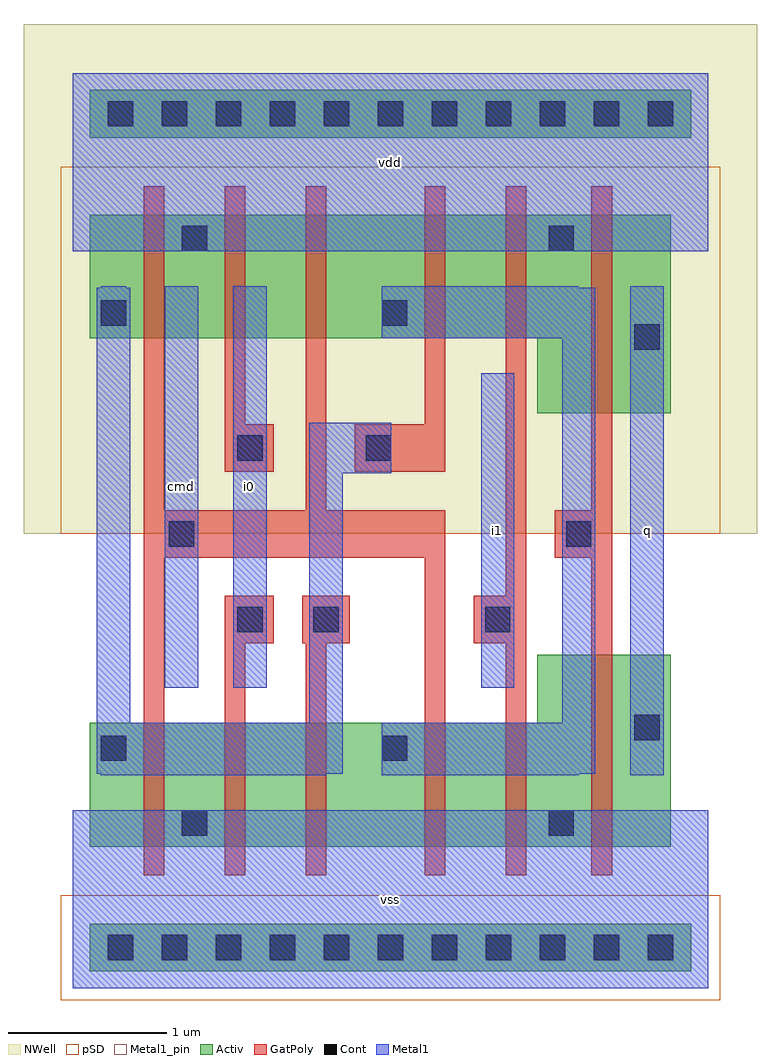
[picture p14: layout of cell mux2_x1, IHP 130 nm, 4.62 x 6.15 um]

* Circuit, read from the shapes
.subckt mux2_x1 cmd i0 i1 q vdd vss
XM1 vss cmd n1 vss sg13_lv_nmos w=0.78u l=0.13u
XM2 n2 i0 vss vss sg13_lv_nmos w=0.78u l=0.13u
XM3 n3 n1 n2 vss sg13_lv_nmos w=0.78u l=0.13u
XM4 n4 cmd n3 vss sg13_lv_nmos w=0.78u l=0.13u
XM5 vss i1 n4 vss sg13_lv_nmos w=0.78u l=0.13u
XM6 q n3 vss vss sg13_lv_nmos w=1.21u l=0.13u
XM7 vdd cmd n1 vdd sg13_lv_pmos w=0.78u l=0.13u
XM8 n5 i0 vdd vdd sg13_lv_pmos w=0.78u l=0.13u
XM9 n3 cmd n5 vdd sg13_lv_pmos w=0.78u l=0.13u
XM10 n6 n1 n3 vdd sg13_lv_pmos w=0.78u l=0.13u
XM11 vdd i1 n6 vdd sg13_lv_pmos w=0.78u l=0.13u
XM12 q n3 vdd vdd sg13_lv_pmos w=1.25u l=0.13u
.ends

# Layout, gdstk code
import gdstk
lib = gdstk.Library(unit=1e-6, precision=1e-09)
def R(c, l, rs):  # rectangles x0, y0, x1, y1
    for r in rs: c.add(gdstk.rectangle(r[:2], r[2:], *l))
def P(c, l, *ps):  # polygons
    for p in ps: c.add(gdstk.Polygon(p, *l))
Activ = (1, 0)
GatPoly = (5, 0)
Cont = (6, 0)
Metal1 = (8, 0)
Metal1_pin = (8, 2)
pSD = (14, 0)
NWell = (31, 0)

mux2_x1 = lib.new_cell('mux2_x1')
P(mux2_x1, Activ, [(1.595,0.89),(1.595,1.67),(1.825,1.67),(1.825,0.89),(1.595,0.89)],
  [(1.665,0.89),(1.665,1.67),(2.145,1.67),(2.145,0.89),(1.665,0.89)],
  [(1.875,4.1),(1.875,4.4),(2.175,4.4),(2.175,4.1),(1.875,4.1)],
  [(1.665,4.09),(1.665,4.87),(2.145,4.87),(2.145,4.09),(1.665,4.09)],
  [(1.985,0.89),(1.985,1.67),(2.215,1.67),(2.215,0.89),(1.985,0.89)],
  [(1.875,0.89),(1.875,1.67),(2.175,1.67),(2.175,0.89),(1.875,0.89)],
  [(1.875,4.09),(1.875,4.87),(2.175,4.87),(2.175,4.09),(1.875,4.09)],
  [(1.985,4.09),(1.985,4.87),(2.215,4.87),(2.215,4.09),(1.985,4.09)],
  [(1.875,1.36),(1.875,1.66),(2.175,1.66),(2.175,1.36),(1.875,1.36)],
  [(1.595,4.09),(1.595,4.87),(1.825,4.87),(1.825,4.09),(1.595,4.09)],
  [(0.725,0.89),(0.725,1.67),(0.955,1.67),(0.955,0.89),(0.725,0.89)],
  [(3.265,0.89),(3.265,2.1),(3.395,2.1),(3.395,0.89),(3.265,0.89)],
  [(2.855,0.89),(2.855,1.67),(3.085,1.67),(3.085,0.89),(2.855,0.89)],
  [(2.725,0.89),(2.725,1.67),(2.855,1.67),(2.855,0.89),(2.725,0.89)],
  [(0.955,0.89),(0.955,1.67),(1.085,1.67),(1.085,0.89),(0.955,0.89)],
  [(0.615,0.89),(0.615,1.19),(0.915,1.19),(0.915,0.89),(0.615,0.89)],
  [(0.445,0.89),(0.445,1.67),(0.575,1.67),(0.575,0.89),(0.445,0.89)],
  [(0.15,0.105),(0.15,0.405),(3.85,0.405),(3.85,0.105),(0.15,0.105)],
  [(2.925,0.89),(2.925,2.1),(3.225,2.1),(3.225,0.89),(2.925,0.89)],
  [(0.615,0.89),(0.615,1.67),(0.915,1.67),(0.915,0.89),(0.615,0.89)],
  [(0.575,0.89),(0.575,1.67),(0.805,1.67),(0.805,0.89),(0.575,0.89)],
  [(3.035,0.89),(3.035,2.1),(3.265,2.1),(3.265,0.89),(3.035,0.89)],
  [(1.465,0.89),(1.465,1.67),(1.595,1.67),(1.595,0.89),(1.465,0.89)],
  [(2.925,0.89),(2.925,1.19),(3.225,1.19),(3.225,0.89),(2.925,0.89)],
  [(0.645,0.89),(0.645,1.67),(0.885,1.67),(0.885,0.89),(0.645,0.89)],
  [(2.925,0.89),(2.925,2.1),(3.195,2.1),(3.195,0.89),(2.925,0.89)],
  [(2.215,0.89),(2.215,1.67),(2.345,1.67),(2.345,0.89),(2.215,0.89)],
  [(0.105,0.105),(0.105,0.405),(3.895,0.405),(3.895,0.105),(0.105,0.105)],
  [(0.615,4.57),(0.615,4.87),(0.915,4.87),(0.915,4.57),(0.615,4.57)],
  [(2.725,4.09),(2.725,4.87),(2.855,4.87),(2.855,4.09),(2.725,4.09)],
  [(2.855,4.09),(2.855,4.87),(3.085,4.87),(3.085,4.09),(2.855,4.09)],
  [(0.575,4.09),(0.575,4.87),(0.805,4.87),(0.805,4.09),(0.575,4.09)],
  [(2.215,4.09),(2.215,4.87),(2.345,4.87),(2.345,4.09),(2.215,4.09)],
  [(3.035,3.62),(3.035,4.87),(3.265,4.87),(3.265,3.62),(3.035,3.62)],
  [(0.615,4.09),(0.615,4.87),(0.915,4.87),(0.915,4.09),(0.615,4.09)],
  [(3.265,3.62),(3.265,4.87),(3.395,4.87),(3.395,3.62),(3.265,3.62)],
  [(0.955,4.09),(0.955,4.87),(1.085,4.87),(1.085,4.09),(0.955,4.09)],
  [(0.725,4.09),(0.725,4.87),(0.955,4.87),(0.955,4.09),(0.725,4.09)],
  [(2.925,3.62),(2.925,4.87),(3.195,4.87),(3.195,3.62),(2.925,3.62)],
  [(0.105,5.355),(0.105,5.655),(3.895,5.655),(3.895,5.355),(0.105,5.355)],
  [(0.645,4.09),(0.645,4.87),(0.885,4.87),(0.885,4.09),(0.645,4.09)],
  [(0.445,4.09),(0.445,4.87),(0.575,4.87),(0.575,4.09),(0.445,4.09)],
  [(2.925,4.57),(2.925,4.87),(3.225,4.87),(3.225,4.57),(2.925,4.57)],
  [(0.15,5.355),(0.15,5.655),(3.85,5.655),(3.85,5.355),(0.15,5.355)],
  [(2.925,3.62),(2.925,4.87),(3.225,4.87),(3.225,3.62),(2.925,3.62)],
  [(1.465,4.09),(1.465,4.87),(1.595,4.87),(1.595,4.09),(1.465,4.09)],
  [(0.215,0.89),(0.215,1.67),(0.445,1.67),(0.445,0.89),(0.215,0.89)],
  [(0.105,0.89),(0.105,1.67),(0.375,1.67),(0.375,0.89),(0.105,0.89)],
  [(0.105,4.1),(0.105,4.4),(0.405,4.4),(0.405,4.1),(0.105,4.1)],
  [(0.105,0.89),(0.105,1.67),(0.405,1.67),(0.405,0.89),(0.105,0.89)],
  [(0.105,4.09),(0.105,4.87),(0.375,4.87),(0.375,4.09),(0.105,4.09)],
  [(0.105,1.36),(0.105,1.66),(0.405,1.66),(0.405,1.36),(0.105,1.36)],
  [(0.105,4.09),(0.105,4.87),(0.405,4.87),(0.405,4.09),(0.105,4.09)],
  [(0.215,4.09),(0.215,4.87),(0.445,4.87),(0.445,4.09),(0.215,4.09)],
  [(3.465,1.49),(3.465,1.79),(3.765,1.79),(3.765,1.49),(3.465,1.49)],
  [(3.465,0.89),(3.465,2.1),(3.765,2.1),(3.765,0.89),(3.465,0.89)],
  [(3.465,3.62),(3.465,4.87),(3.765,4.87),(3.765,3.62),(3.465,3.62)],
  [(3.395,3.62),(3.395,4.87),(3.625,4.87),(3.625,3.62),(3.395,3.62)],
  [(3.465,3.95),(3.465,4.25),(3.765,4.25),(3.765,3.95),(3.465,3.95)],
  [(3.465,3.62),(3.465,4.87),(3.765,4.87),(3.765,3.62),(3.465,3.62)],
  [(3.465,0.89),(3.465,2.1),(3.765,2.1),(3.765,0.89),(3.465,0.89)],
  [(3.395,0.89),(3.395,2.1),(3.625,2.1),(3.625,0.89),(3.395,0.89)],
  [(1.09,0.89),(1.09,1.67),(1.46,1.67),(1.46,0.89),(1.09,0.89)],
  [(1.235,0.89),(1.235,1.67),(1.465,1.67),(1.465,0.89),(1.235,0.89)],
  [(1.085,0.89),(1.085,1.67),(1.315,1.67),(1.315,0.89),(1.085,0.89)],
  [(1.155,0.89),(1.155,1.67),(1.395,1.67),(1.395,0.89),(1.155,0.89)],
  [(2.495,4.09),(2.495,4.87),(2.725,4.87),(2.725,4.09),(2.495,4.09)],
  [(2.345,4.09),(2.345,4.87),(2.575,4.87),(2.575,4.09),(2.345,4.09)],
  [(2.35,4.09),(2.35,4.87),(2.72,4.87),(2.72,4.09),(2.35,4.09)],
  [(2.415,4.09),(2.415,4.87),(2.655,4.87),(2.655,4.09),(2.415,4.09)],
  [(2.35,0.89),(2.35,1.67),(2.72,1.67),(2.72,0.89),(2.35,0.89)],
  [(2.415,0.89),(2.415,1.67),(2.655,1.67),(2.655,0.89),(2.415,0.89)],
  [(2.495,0.89),(2.495,1.67),(2.725,1.67),(2.725,0.89),(2.495,0.89)],
  [(2.345,0.89),(2.345,1.67),(2.575,1.67),(2.575,0.89),(2.345,0.89)],
  [(1.155,4.09),(1.155,4.87),(1.395,4.87),(1.395,4.09),(1.155,4.09)],
  [(1.235,4.09),(1.235,4.87),(1.465,4.87),(1.465,4.09),(1.235,4.09)],
  [(1.09,4.09),(1.09,4.87),(1.46,4.87),(1.46,4.09),(1.09,4.09)],
  [(1.085,4.09),(1.085,4.87),(1.315,4.87),(1.315,4.09),(1.085,4.09)])
P(mux2_x1, GatPoly, [(3.185,2.71),(3.185,3.01),(3.33,3.01),(3.33,2.71),(3.185,2.71)],
  [(3.035,2.71),(3.035,3.01),(3.335,3.01),(3.335,2.71),(3.035,2.71)],
  [(3.265,3.44),(3.265,5.05),(3.395,5.05),(3.395,3.44),(3.265,3.44)],
  [(3.265,0.71),(3.265,3.44),(3.395,3.44),(3.395,0.71),(3.265,0.71)],
  [(3.265,0.71),(3.265,2.28),(3.395,2.28),(3.395,0.71),(3.265,0.71)],
  [(0.445,3.91),(0.445,5.05),(0.575,5.05),(0.575,3.91),(0.445,3.91)],
  [(2.215,0.71),(2.215,1.85),(2.345,1.85),(2.345,0.71),(2.215,0.71)],
  [(0.445,0.71),(0.445,1.85),(0.575,1.85),(0.575,0.71),(0.445,0.71)],
  [(2.215,0.71),(2.215,3.01),(2.345,3.01),(2.345,0.71),(2.215,0.71)],
  [(0.51,2.71),(0.51,3.01),(2.28,3.01),(2.28,2.71),(0.51,2.71)],
  [(0.535,2.71),(0.535,3.01),(0.835,3.01),(0.835,2.71),(0.535,2.71)],
  [(1.465,3.91),(1.465,5.05),(1.595,5.05),(1.595,3.91),(1.465,3.91)],
  [(1.465,2.71),(1.465,5.05),(1.595,5.05),(1.595,2.71),(1.465,2.71)],
  [(0.445,0.71),(0.445,3.91),(0.575,3.91),(0.575,0.71),(0.445,0.71)],
  [(1.465,0.71),(1.465,1.85),(1.595,1.85),(1.595,0.71),(1.465,0.71)],
  [(1.465,0.71),(1.465,2.47),(1.595,2.47),(1.595,0.71),(1.465,0.71)],
  [(2.215,3.91),(2.215,5.05),(2.345,5.05),(2.345,3.91),(2.215,3.91)],
  [(1.445,2.17),(1.445,2.47),(1.745,2.47),(1.745,2.17),(1.445,2.17)],
  [(1.925,3.25),(1.925,3.55),(2.28,3.55),(2.28,3.25),(1.925,3.25)],
  [(2.215,3.25),(2.215,5.05),(2.345,5.05),(2.345,3.25),(2.215,3.25)],
  [(1.53,2.17),(1.53,2.47),(1.595,2.47),(1.595,2.17),(1.53,2.17)],
  [(1.775,3.25),(1.775,3.55),(2.075,3.55),(2.075,3.25),(1.775,3.25)],
  [(0.965,2.17),(0.965,2.47),(1.265,2.47),(1.265,2.17),(0.965,2.17)],
  [(0.965,3.25),(0.965,3.55),(1.265,3.55),(1.265,3.25),(0.965,3.25)],
  [(0.955,3.91),(0.955,5.05),(1.085,5.05),(1.085,3.91),(0.955,3.91)],
  [(1.02,3.25),(1.02,3.55),(1.115,3.55),(1.115,3.25),(1.02,3.25)],
  [(0.955,0.71),(0.955,2.47),(1.085,2.47),(1.085,0.71),(0.955,0.71)],
  [(0.955,0.71),(0.955,1.85),(1.085,1.85),(1.085,0.71),(0.955,0.71)],
  [(1.02,2.17),(1.02,2.47),(1.115,2.47),(1.115,2.17),(1.02,2.17)],
  [(0.955,3.25),(0.955,5.05),(1.085,5.05),(1.085,3.25),(0.955,3.25)],
  [(2.725,0.71),(2.725,1.85),(2.855,1.85),(2.855,0.71),(2.725,0.71)],
  [(2.525,2.17),(2.525,2.47),(2.825,2.47),(2.825,2.17),(2.525,2.17)],
  [(2.725,0.71),(2.725,3.91),(2.855,3.91),(2.855,0.71),(2.725,0.71)],
  [(2.675,2.17),(2.675,2.47),(2.79,2.47),(2.79,2.17),(2.675,2.17)],
  [(2.725,3.91),(2.725,5.05),(2.855,5.05),(2.855,3.91),(2.725,3.91)])
P(mux2_x1, Cont, [(1.945,1.43),(1.945,1.59),(2.105,1.59),(2.105,1.43),(1.945,1.43)],
  [(1.945,4.17),(1.945,4.33),(2.105,4.33),(2.105,4.17),(1.945,4.17)],
  [(3.105,2.78),(3.105,2.94),(3.265,2.94),(3.265,2.78),(3.105,2.78)],
  [(1.24,0.175),(1.24,0.335),(1.4,0.335),(1.4,0.175),(1.24,0.175)],
  [(0.9,0.175),(0.9,0.335),(1.06,0.335),(1.06,0.175),(0.9,0.175)],
  [(2.995,0.96),(2.995,1.12),(3.155,1.12),(3.155,0.96),(2.995,0.96)],
  [(0.22,0.175),(0.22,0.335),(0.38,0.335),(0.38,0.175),(0.22,0.175)],
  [(0.56,0.175),(0.56,0.335),(0.72,0.335),(0.72,0.175),(0.56,0.175)],
  [(0.685,0.96),(0.685,1.12),(0.845,1.12),(0.845,0.96),(0.685,0.96)],
  [(3.62,0.175),(3.62,0.335),(3.78,0.335),(3.78,0.175),(3.62,0.175)],
  [(3.28,0.175),(3.28,0.335),(3.44,0.335),(3.44,0.175),(3.28,0.175)],
  [(2.94,0.175),(2.94,0.335),(3.1,0.335),(3.1,0.175),(2.94,0.175)],
  [(2.6,0.175),(2.6,0.335),(2.76,0.335),(2.76,0.175),(2.6,0.175)],
  [(2.26,0.175),(2.26,0.335),(2.42,0.335),(2.42,0.175),(2.26,0.175)],
  [(1.92,0.175),(1.92,0.335),(2.08,0.335),(2.08,0.175),(1.92,0.175)],
  [(1.58,0.175),(1.58,0.335),(1.74,0.335),(1.74,0.175),(1.58,0.175)],
  [(0.685,4.64),(0.685,4.8),(0.845,4.8),(0.845,4.64),(0.685,4.64)],
  [(3.62,5.425),(3.62,5.585),(3.78,5.585),(3.78,5.425),(3.62,5.425)],
  [(3.28,5.425),(3.28,5.585),(3.44,5.585),(3.44,5.425),(3.28,5.425)],
  [(2.94,5.425),(2.94,5.585),(3.1,5.585),(3.1,5.425),(2.94,5.425)],
  [(2.6,5.425),(2.6,5.585),(2.76,5.585),(2.76,5.425),(2.6,5.425)],
  [(2.26,5.425),(2.26,5.585),(2.42,5.585),(2.42,5.425),(2.26,5.425)],
  [(1.92,5.425),(1.92,5.585),(2.08,5.585),(2.08,5.425),(1.92,5.425)],
  [(1.58,5.425),(1.58,5.585),(1.74,5.585),(1.74,5.425),(1.58,5.425)],
  [(1.24,5.425),(1.24,5.585),(1.4,5.585),(1.4,5.425),(1.24,5.425)],
  [(0.9,5.425),(0.9,5.585),(1.06,5.585),(1.06,5.425),(0.9,5.425)],
  [(0.56,5.425),(0.56,5.585),(0.72,5.585),(0.72,5.425),(0.56,5.425)],
  [(0.22,5.425),(0.22,5.585),(0.38,5.585),(0.38,5.425),(0.22,5.425)],
  [(2.995,4.64),(2.995,4.8),(3.155,4.8),(3.155,4.64),(2.995,4.64)],
  [(0.605,2.78),(0.605,2.94),(0.765,2.94),(0.765,2.78),(0.605,2.78)],
  [(1.515,2.24),(1.515,2.4),(1.675,2.4),(1.675,2.24),(1.515,2.24)],
  [(0.175,1.43),(0.175,1.59),(0.335,1.59),(0.335,1.43),(0.175,1.43)],
  [(0.175,4.17),(0.175,4.33),(0.335,4.33),(0.335,4.17),(0.175,4.17)],
  [(1.845,3.32),(1.845,3.48),(2.005,3.48),(2.005,3.32),(1.845,3.32)],
  [(3.535,4.02),(3.535,4.18),(3.695,4.18),(3.695,4.02),(3.535,4.02)],
  [(3.535,1.56),(3.535,1.72),(3.695,1.72),(3.695,1.56),(3.535,1.56)],
  [(1.035,3.32),(1.035,3.48),(1.195,3.48),(1.195,3.32),(1.035,3.32)],
  [(1.035,2.24),(1.035,2.4),(1.195,2.4),(1.195,2.24),(1.035,2.24)],
  [(2.595,2.24),(2.595,2.4),(2.755,2.4),(2.755,2.24),(2.595,2.24)])
R(mux2_x1, Metal1, [(0,0,4,1.12), (3.51,1.34,3.72,4.42), (0.58,1.89,0.79,4.42), (1.01,1.89,1.22,4.42), (2.57,1.89,2.78,3.87), (0,4.64,4,5.76)])
P(mux2_x1, Metal1, [(1.945,4.09),(1.945,4.41),(2.105,4.41),(2.105,4.09),(1.945,4.09)],
  [(3.08,4.09),(3.08,4.41),(3.29,4.41),(3.29,4.09),(3.08,4.09)],
  [(3.08,1.35),(3.08,4.41),(3.29,4.41),(3.29,1.35),(3.08,1.35)],
  [(1.945,1.35),(1.945,1.67),(2.105,1.67),(2.105,1.35),(1.945,1.35)],
  [(3.105,2.7),(3.105,3.02),(3.265,3.02),(3.265,2.7),(3.105,2.7)],
  [(2.025,1.34),(2.025,1.67),(3.185,1.67),(3.185,1.34),(2.025,1.34)],
  [(1.945,1.34),(1.945,1.67),(2.105,1.67),(2.105,1.34),(1.945,1.34)],
  [(1.945,4.09),(1.945,4.42),(2.105,4.42),(2.105,4.09),(1.945,4.09)],
  [(3.08,1.35),(3.08,1.67),(3.29,1.67),(3.29,1.35),(3.08,1.35)],
  [(2.025,4.09),(2.025,4.42),(3.185,4.42),(3.185,4.09),(2.025,4.09)],
  [(0.22,0.095),(0.22,0.415),(3.78,0.415),(3.78,0.095),(0.22,0.095)],
  [(0.605,0.96),(0.605,1.12),(0.925,1.12),(0.925,0.96),(0.605,0.96)],
  [(0,0),(0,1.12),(4,1.12),(4,0),(0,0)],
  [(2.915,0.96),(2.915,1.12),(3.235,1.12),(3.235,0.96),(2.915,0.96)],
  [(0.605,4.64),(0.605,4.8),(0.925,4.8),(0.925,4.64),(0.605,4.64)],
  [(0.22,5.345),(0.22,5.665),(3.78,5.665),(3.78,5.345),(0.22,5.345)],
  [(0,4.64),(0,5.76),(4,5.76),(4,4.64),(0,4.64)],
  [(2.915,4.64),(2.915,4.8),(3.235,4.8),(3.235,4.64),(2.915,4.64)],
  [(0.58,1.89),(0.58,4.42),(0.79,4.42),(0.79,1.89),(0.58,1.89)],
  [(0.605,2.7),(0.605,3.02),(0.765,3.02),(0.765,2.7),(0.605,2.7)],
  [(1.49,1.35),(1.49,1.67),(1.7,1.67),(1.7,1.35),(1.49,1.35)],
  [(1.845,3.24),(1.845,3.56),(2.005,3.56),(2.005,3.24),(1.845,3.24)],
  [(0.255,1.34),(0.255,1.67),(1.595,1.67),(1.595,1.34),(0.255,1.34)],
  [(0.175,1.35),(0.175,1.67),(0.335,1.67),(0.335,1.35),(0.175,1.35)],
  [(1.515,2.16),(1.515,2.48),(1.675,2.48),(1.675,2.16),(1.515,2.16)],
  [(0.175,1.34),(0.175,1.67),(0.335,1.67),(0.335,1.34),(0.175,1.34)],
  [(0.15,1.35),(0.15,4.41),(0.36,4.41),(0.36,1.35),(0.15,1.35)],
  [(1.595,3.24),(1.595,3.56),(1.925,3.56),(1.925,3.24),(1.595,3.24)],
  [(1.49,3.24),(1.49,3.56),(1.7,3.56),(1.7,3.24),(1.49,3.24)],
  [(0.175,4.09),(0.175,4.42),(0.335,4.42),(0.335,4.09),(0.175,4.09)],
  [(1.49,1.35),(1.49,3.56),(1.7,3.56),(1.7,1.35),(1.49,1.35)],
  [(0.175,4.09),(0.175,4.41),(0.335,4.41),(0.335,4.09),(0.175,4.09)],
  [(3.535,3.78),(3.535,4.42),(3.695,4.42),(3.695,3.78),(3.535,3.78)],
  [(3.535,3.94),(3.535,4.26),(3.695,4.26),(3.695,3.94),(3.535,3.94)],
  [(3.535,1.48),(3.535,1.8),(3.695,1.8),(3.695,1.48),(3.535,1.48)],
  [(3.535,1.34),(3.535,1.94),(3.695,1.94),(3.695,1.34),(3.535,1.34)],
  [(3.51,1.34),(3.51,4.42),(3.72,4.42),(3.72,1.34),(3.51,1.34)],
  [(1.035,2.16),(1.035,2.48),(1.195,2.48),(1.195,2.16),(1.035,2.16)],
  [(1.035,3.24),(1.035,3.56),(1.195,3.56),(1.195,3.24),(1.035,3.24)],
  [(1.01,1.89),(1.01,4.42),(1.22,4.42),(1.22,1.89),(1.01,1.89)],
  [(2.57,1.89),(2.57,3.87),(2.78,3.87),(2.78,1.89),(2.57,1.89)],
  [(2.595,2.16),(2.595,2.48),(2.755,2.48),(2.755,2.16),(2.595,2.16)])
R(mux2_x1, Metal1_pin, [(0,0,4,1.12), (0,0,4,1.12), (3.51,1.34,3.72,4.42), (3.51,1.34,3.72,4.42), (0.58,1.89,0.79,4.42), (0.58,1.89,0.79,4.42), (1.01,1.89,1.22,4.42), (1.01,1.89,1.22,4.42), (2.57,1.89,2.78,3.87), (2.57,1.89,2.78,3.87), (0,4.64,4,5.76), (0,4.64,4,5.76)])
P(mux2_x1, pSD, [(2.745,4.27),(2.745,5.17),(3.405,5.17),(3.405,4.27),(2.745,4.27)],
  [(2.425,3.79),(2.425,5.17),(3.155,5.17),(3.155,3.79),(2.425,3.79)],
  [(-0.03,-0.075),(-0.03,0.585),(4.03,0.585),(4.03,-0.075),(-0.03,-0.075)],
  [(2.745,3.32),(2.745,5.17),(3.375,5.17),(3.375,3.32),(2.745,3.32)],
  [(2.315,3.91),(2.315,5.05),(3.265,5.05),(3.265,3.91),(2.315,3.91)],
  [(2.965,3.32),(2.965,5.17),(3.695,5.17),(3.695,3.32),(2.965,3.32)],
  [(2.745,3.32),(2.745,5.17),(3.405,5.17),(3.405,3.32),(2.745,3.32)],
  [(0.465,3.79),(0.465,5.17),(1.065,5.17),(1.065,3.79),(0.465,3.79)],
  [(3.285,3.32),(3.285,5.17),(3.945,5.17),(3.945,3.32),(3.285,3.32)],
  [(0.145,3.79),(0.145,5.17),(0.875,5.17),(0.875,3.79),(0.145,3.79)],
  [(1.695,3.79),(1.695,5.17),(2.355,5.17),(2.355,3.79),(1.695,3.79)],
  [(1.695,3.8),(1.695,4.7),(2.355,4.7),(2.355,3.8),(1.695,3.8)],
  [(0.035,3.91),(0.035,5.05),(0.985,5.05),(0.985,3.91),(0.035,3.91)],
  [(1.915,3.79),(1.915,5.17),(2.645,5.17),(2.645,3.79),(1.915,3.79)],
  [(-0.075,3.79),(-0.075,5.17),(0.555,5.17),(0.555,3.79),(-0.075,3.79)],
  [(2.855,3.44),(2.855,5.05),(3.805,5.05),(3.805,3.44),(2.855,3.44)],
  [(-0.075,3.8),(-0.075,4.7),(0.585,4.7),(0.585,3.8),(-0.075,3.8)],
  [(-0.075,3.79),(-0.075,5.17),(0.585,5.17),(0.585,3.79),(-0.075,3.79)],
  [(3.285,3.32),(3.285,5.17),(3.945,5.17),(3.945,3.32),(3.285,3.32)],
  [(0.655,3.79),(0.655,5.17),(1.385,5.17),(1.385,3.79),(0.655,3.79)],
  [(2.17,3.79),(2.17,5.17),(2.9,5.17),(2.9,3.79),(2.17,3.79)],
  [(2.235,3.79),(2.235,5.17),(2.835,5.17),(2.835,3.79),(2.235,3.79)],
  [(-0.075,-0.075),(-0.075,0.585),(4.075,0.585),(4.075,-0.075),(-0.075,-0.075)],
  [(0.435,3.79),(0.435,5.17),(1.095,5.17),(1.095,3.79),(0.435,3.79)],
  [(1.165,3.79),(1.165,5.17),(1.895,5.17),(1.895,3.79),(1.165,3.79)],
  [(1.055,3.91),(1.055,5.05),(2.005,5.05),(2.005,3.91),(1.055,3.91)],
  [(0.545,3.91),(0.545,5.05),(1.495,5.05),(1.495,3.91),(0.545,3.91)],
  [(0.435,4.27),(0.435,5.17),(1.095,5.17),(1.095,4.27),(0.435,4.27)],
  [(3.285,3.65),(3.285,4.55),(3.945,4.55),(3.945,3.65),(3.285,3.65)],
  [(-0.075,2.86),(-0.075,5.17),(4.075,5.17),(4.075,2.86),(-0.075,2.86)],
  [(0.91,3.79),(0.91,5.17),(1.64,5.17),(1.64,3.79),(0.91,3.79)],
  [(1.485,3.79),(1.485,5.17),(2.325,5.17),(2.325,3.79),(1.485,3.79)],
  [(0.975,3.79),(0.975,5.17),(1.575,5.17),(1.575,3.79),(0.975,3.79)],
  [(1.805,3.91),(1.805,5.05),(2.755,5.05),(2.755,3.91),(1.805,3.91)])
P(mux2_x1, NWell, [(-0.095,3.78),(-0.095,5.18),(1.115,5.18),(1.115,3.78),(-0.095,3.78)],
  [(1.565,3.78),(1.565,5.18),(2.485,5.18),(2.485,3.78),(1.565,3.78)],
  [(-0.205,3.78),(-0.205,5.18),(0.685,5.18),(0.685,3.78),(-0.205,3.78)],
  [(1.565,3.79),(1.565,4.71),(2.485,4.71),(2.485,3.79),(1.565,3.79)],
  [(2.615,3.31),(2.615,5.18),(3.505,5.18),(3.505,3.31),(2.615,3.31)],
  [(1.355,3.78),(1.355,5.18),(2.455,5.18),(2.455,3.78),(1.355,3.78)],
  [(0.335,3.78),(0.335,5.18),(1.195,5.18),(1.195,3.78),(0.335,3.78)],
  [(0.305,3.78),(0.305,5.18),(1.225,5.18),(1.225,3.78),(0.305,3.78)],
  [(1.675,3.78),(1.675,5.18),(2.885,5.18),(2.885,3.78),(1.675,3.78)],
  [(3.155,3.64),(3.155,4.56),(4.075,4.56),(4.075,3.64),(3.155,3.64)],
  [(-0.205,3.78),(-0.205,5.18),(0.715,5.18),(0.715,3.78),(-0.205,3.78)],
  [(2.615,4.26),(2.615,5.18),(3.535,5.18),(3.535,4.26),(2.615,4.26)],
  [(2.615,3.31),(2.615,5.18),(3.535,5.18),(3.535,3.31),(2.615,3.31)],
  [(-0.205,5.045),(-0.205,5.965),(4.205,5.965),(4.205,5.045),(-0.205,5.045)],
  [(0.415,3.78),(0.415,5.18),(1.625,5.18),(1.625,3.78),(0.415,3.78)],
  [(3.155,3.31),(3.155,5.18),(4.075,5.18),(4.075,3.31),(3.155,3.31)],
  [(-0.205,3.79),(-0.205,4.71),(0.715,4.71),(0.715,3.79),(-0.205,3.79)],
  [(2.04,3.78),(2.04,5.18),(3.03,5.18),(3.03,3.78),(2.04,3.78)],
  [(0.78,3.78),(0.78,5.18),(1.77,5.18),(1.77,3.78),(0.78,3.78)],
  [(3.155,3.31),(3.155,5.18),(4.075,5.18),(4.075,3.31),(3.155,3.31)],
  [(0.925,3.78),(0.925,5.18),(2.135,5.18),(2.135,3.78),(0.925,3.78)],
  [(-0.16,5.045),(-0.16,5.965),(4.16,5.965),(4.16,5.045),(-0.16,5.045)],
  [(-0.31,2.86),(-0.31,6.07),(4.31,6.07),(4.31,2.86),(-0.31,2.86)],
  [(0.845,3.78),(0.845,5.18),(1.705,5.18),(1.705,3.78),(0.845,3.78)],
  [(0.305,4.26),(0.305,5.18),(1.225,5.18),(1.225,4.26),(0.305,4.26)],
  [(2.185,3.78),(2.185,5.18),(3.395,5.18),(3.395,3.78),(2.185,3.78)],
  [(2.725,3.31),(2.725,5.18),(3.935,5.18),(3.935,3.31),(2.725,3.31)],
  [(2.105,3.78),(2.105,5.18),(2.965,5.18),(2.965,3.78),(2.105,3.78)])
mux2_x1.add(gdstk.Label('vss', (2,0.56), layer=8, texttype=25))
mux2_x1.add(gdstk.Label('vdd', (2,5.2), layer=8, texttype=25))
mux2_x1.add(gdstk.Label('cmd', (0.685,3.155), layer=8, texttype=25))
mux2_x1.add(gdstk.Label('q', (3.615,2.88), layer=8, texttype=25))
mux2_x1.add(gdstk.Label('i0', (1.115,3.155), layer=8, texttype=25))
mux2_x1.add(gdstk.Label('i1', (2.675,2.88), layer=8, texttype=25))

lib.write_gds('mux2_x1.gds')
